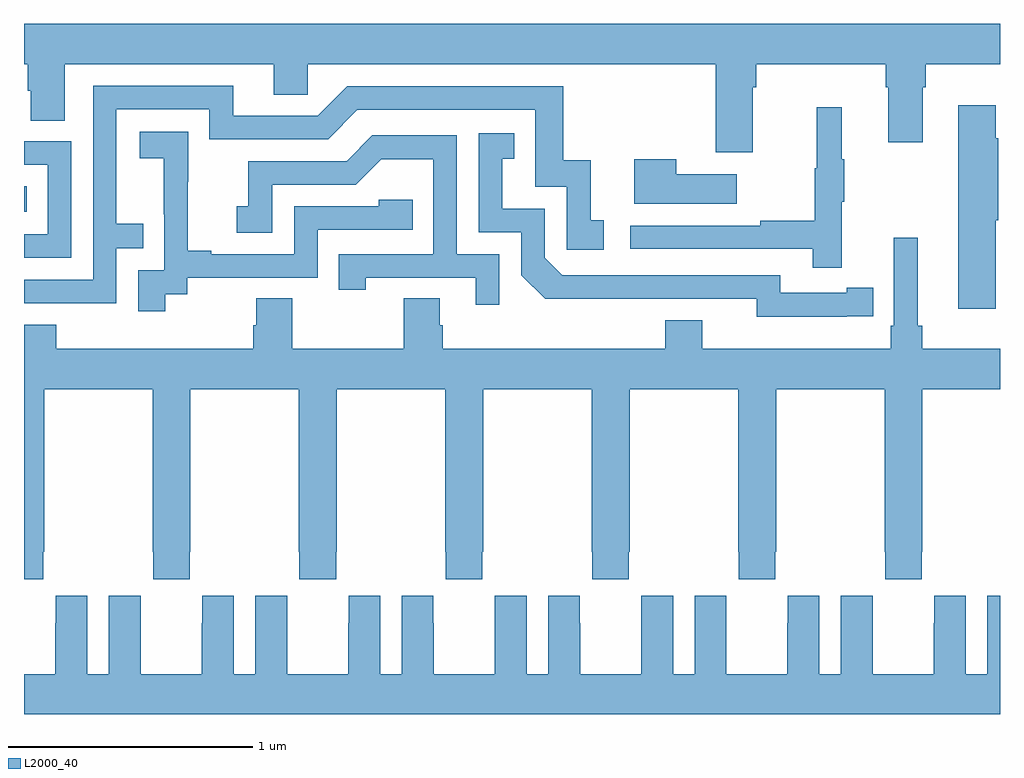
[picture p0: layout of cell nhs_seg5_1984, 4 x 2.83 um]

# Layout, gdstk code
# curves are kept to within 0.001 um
import gdstk
lib = gdstk.Library(unit=1e-6, precision=1e-09)
def R(c, l, rs):  # rectangles x0, y0, x1, y1
    for r in rs: c.add(gdstk.rectangle(r[:2], r[2:], *l))
def P(c, l, *ps):  # polygons
    for p in ps: c.add(gdstk.Polygon(p, *l))
L2000_40 = (2000, 40)

nhs_seg5_1984 = lib.new_cell('nhs_seg5_1984')
R(nhs_seg5_1984, L2000_40, [(227,901.442,227.012,901.546)])
P(nhs_seg5_1984, L2000_40, [(229.987,901.952),(230,901.952),(230,902.048),(230.531,902.048),(230.531,901.952),(230.543,901.952),(230.543,901.728),(230.683,901.728),(230.683,901.952),(230.696,901.952),(230.696,902.048),(231,902.048),(231,902.212),(227,902.212),(227,902.048),(227.015,902.048),(227.015,901.939),(227.028,901.939),(227.028,901.816),(227.167,901.816),(227.167,902.048),(228.023,902.048),(228.023,901.921),(228.162,901.921),(228.162,902.048),(229.835,902.048),(229.835,901.686),(229.987,901.686)],
  [(227.379,901.293),(227.489,901.293),(227.489,901.394),(227.379,901.394),(227.379,901.863),(227.76,901.863),(227.76,901.74),(228.246,901.74),(228.366,901.86),(229.095,901.86),(229.095,901.545),(229.224,901.545),(229.224,901.287),(229.375,901.287),(229.375,901.407),(229.322,901.407),(229.322,901.654),(229.211,901.654),(229.211,901.956),(228.324,901.956),(228.204,901.836),(227.857,901.836),(227.857,901.959),(227.283,901.959),(227.283,901.164),(227,901.164),(227,901.068),(227.379,901.068)],
  [(230.982,901.407),(230.992,901.407),(230.992,901.743),(230.982,901.743),(230.982,901.879),(230.828,901.879),(230.828,901.044),(230.982,901.044)],
  [(230.351,901.483),(230.362,901.483),(230.362,901.657),(230.351,901.657),(230.351,901.87),(230.248,901.87),(230.248,901.62),(230.241,901.62),(230.241,901.406),(230.017,901.406),(230.017,901.386),(229.485,901.386),(229.485,901.29),(230.233,901.29),(230.233,901.212),(230.351,901.212)],
  [(227.578,901.105),(227.67,901.105),(227.67,901.173),(228.204,901.173),(228.204,901.368),(228.593,901.368),(228.593,901.491),(228.453,901.491),(228.453,901.464),(228.108,901.464),(228.108,901.269),(227.767,901.269),(227.767,901.282),(227.672,901.282),(227.672,901.565),(227.673,901.565),(227.673,901.771),(227.475,901.771),(227.475,901.661),(227.573,901.661),(227.573,901.433),(227.574,901.433),(227.574,901.203),(227.469,901.203),(227.469,901.035),(227.578,901.035)],
  [(230.372,901.014),(230.48,901.014),(230.48,901.13),(230.372,901.13),(230.372,901.11),(230.1,901.11),(230.1,901.182),(229.206,901.182),(229.134,901.254),(229.134,901.455),(228.961,901.455),(228.961,901.659),(229.01,901.659),(229.01,901.765),(228.864,901.765),(228.864,901.359),(229.038,901.359),(229.038,901.182),(229.136,901.085),(230.004,901.086),(230.004,901.013)],
  [(228.948,901.269),(228.774,901.269),(228.774,901.755),(228.428,901.755),(228.323,901.65),(227.92,901.65),(227.92,901.465),(227.871,901.465),(227.871,901.356),(228.018,901.356),(228.018,901.554),(228.36,901.554),(228.464,901.658),(228.678,901.658),(228.678,901.269),(228.289,901.269),(228.289,901.122),(228.4,901.122),(228.4,901.173),(228.851,901.173),(228.851,901.062),(228.948,901.062)],
  [(227.193,901.731),(227,901.731),(227,901.635),(227.097,901.635),(227.097,901.35),(227,901.35),(227,901.254),(227.193,901.254)],
  [(229.921,901.597),(229.673,901.597),(229.673,901.657),(229.502,901.657),(229.502,901.475),(229.921,901.475)],
  [(227.079,900.049),(227.082,900.049),(227.082,900.716),(227.527,900.716),(227.527,900.049),(227.529,900.049),(227.529,899.937),(227.679,899.937),(227.679,900.049),(227.682,900.049),(227.682,900.716),(228.127,900.716),(228.127,900.049),(228.129,900.049),(228.129,899.937),(228.279,899.937),(228.279,900.049),(228.282,900.049),(228.282,900.716),(228.727,900.716),(228.727,900.049),(228.729,900.049),(228.729,899.937),(228.879,899.937),(228.879,900.049),(228.882,900.049),(228.882,900.716),(229.327,900.716),(229.327,900.049),(229.329,900.049),(229.329,899.937),(229.479,899.937),(229.479,900.049),(229.482,900.049),(229.482,900.716),(229.927,900.716),(229.927,900.049),(229.929,900.049),(229.929,899.937),(230.079,899.937),(230.079,900.049),(230.082,900.049),(230.082,900.716),(230.527,900.716),(230.527,900.049),(230.529,900.049),(230.529,899.937),(230.679,899.937),(230.679,900.049),(230.682,900.049),(230.682,900.716),(231,900.716),(231,900.88),(230.681,900.88),(230.681,900.976),(230.662,900.976),(230.662,901.336),(230.565,901.336),(230.565,900.976),(230.552,900.976),(230.552,900.88),(229.78,900.88),(229.78,900.997),(229.628,900.997),(229.628,900.88),(228.716,900.88),(228.716,900.978),(228.703,900.978),(228.703,901.088),(228.556,901.088),(228.556,900.88),(228.099,900.88),(228.099,901.088),(227.951,901.088),(227.951,900.978),(227.939,900.978),(227.939,900.88),(227.132,900.88),(227.132,900.979),(227,900.979),(227,899.937),(227.079,899.937)],
  [(231,899.869),(230.948,899.869),(230.948,899.548),(230.86,899.548),(230.86,899.869),(230.73,899.869),(230.73,899.756),(230.729,899.756),(230.729,899.548),(230.479,899.548),(230.479,899.756),(230.478,899.756),(230.478,899.869),(230.348,899.869),(230.348,899.548),(230.26,899.548),(230.26,899.869),(230.13,899.869),(230.13,899.756),(230.129,899.756),(230.129,899.548),(229.879,899.548),(229.879,899.756),(229.878,899.756),(229.878,899.869),(229.748,899.869),(229.748,899.548),(229.66,899.548),(229.66,899.869),(229.53,899.869),(229.53,899.756),(229.529,899.756),(229.529,899.548),(229.279,899.548),(229.279,899.756),(229.278,899.756),(229.278,899.869),(229.148,899.869),(229.148,899.548),(229.06,899.548),(229.06,899.869),(228.93,899.869),(228.93,899.756),(228.929,899.756),(228.929,899.548),(228.679,899.548),(228.679,899.756),(228.678,899.756),(228.678,899.869),(228.548,899.869),(228.548,899.548),(228.46,899.548),(228.46,899.869),(228.33,899.869),(228.33,899.756),(228.329,899.756),(228.329,899.548),(228.079,899.548),(228.079,899.756),(228.078,899.756),(228.078,899.869),(227.948,899.869),(227.948,899.548),(227.86,899.548),(227.86,899.869),(227.73,899.869),(227.73,899.756),(227.729,899.756),(227.729,899.548),(227.479,899.548),(227.479,899.756),(227.478,899.756),(227.478,899.869),(227.348,899.869),(227.348,899.548),(227.26,899.548),(227.26,899.869),(227.13,899.869),(227.13,899.756),(227.129,899.756),(227.129,899.548),(227,899.548),(227,899.384),(231,899.384)])

lib.write_gds('nhs_seg5_1984.gds')
